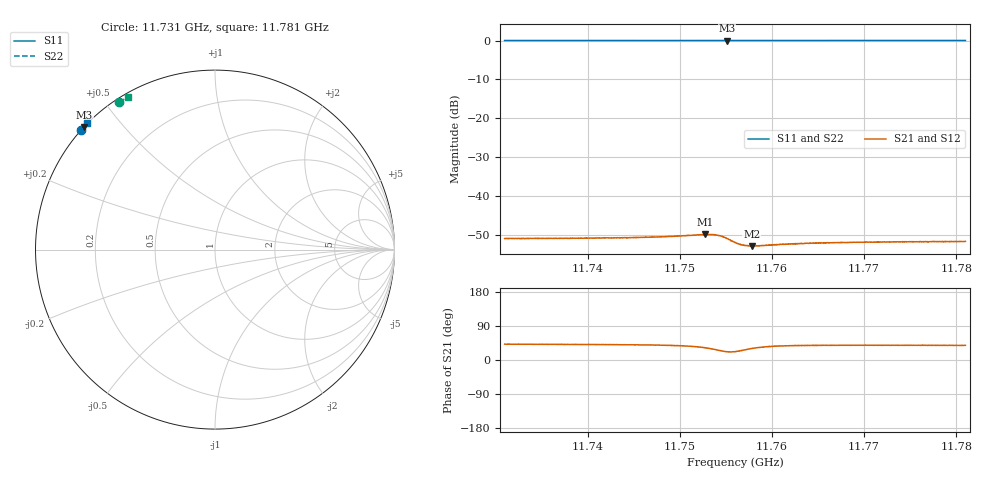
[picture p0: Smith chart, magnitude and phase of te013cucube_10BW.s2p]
!Keysight Technologies,N5245B,MY49151052,A.14.00.23
!Date: Friday, February 19, 2021 17:55:53
!Correction: S11(C* 2-Port  )
!S21(C* 2-Port  )
!S12(C* 2-Port  )
!S22(C* 2-Port  )
!S2P File: Measurement: :
# Hz S  dB  R 50
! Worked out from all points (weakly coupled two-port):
!   1601 points, 11.731 GHz to 11.781 GHz, reference 50 ohm
!   highest |S21| = -49.72 dB at 11.7528 GHz (marker M1); lowest = -52.8 dB at 11.7578 GHz (marker M2)
!   lowest |S11| = 0.0 dB at 11.7551 GHz (marker M3), VSWR 823.97, Z = 0.0701 + j19.7 ohm
!   |S11| at or under -10 dB: nowhere
!   |S22| runs from -0.2 to -0.2 dB; largest |S21 - S12| = 4.7e-05
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1.1731e10  0.01 138.4  -50.83 41.9  -50.82 41.7  -0.17 122.9
1.173934e10  0.01 137.9  -50.72 40.7  -50.71 40.9  -0.17 122.4
1.174519e10  0.00 137.5  -50.53 39.7  -50.54 39.6  -0.18 122.0
1.174769e10  0.00 137.3  -50.44 39.2  -50.37 38.9  -0.18 121.8
1.174916e10  0.00 137.2  -50.28 38.6  -50.29 38.1  -0.18 121.7
1.175275e10  -0.01 137.0  -49.72 32.5  -49.79 32.0  -0.18 121.5
1.175344e10  -0.01 136.9  -49.80 29.5  -49.82 29.2  -0.18 121.4
1.175409e10  -0.02 136.9  -49.97 26.3  -49.96 26.2  -0.18 121.4
1.175456e10  -0.02 136.9  -50.24 23.8  -50.26 23.4  -0.18 121.4
1.175512e10  -0.02 136.9  -50.79 21.7  -50.81 21.9  -0.18 121.3
1.1756e10  -0.02 137.0  -51.79 22.2  -51.79 21.7  -0.18 121.3
1.175634e10  -0.01 137.0  -52.17 23.2  -52.15 22.8  -0.18 121.3
1.175681e10  -0.01 136.9  -52.50 25.5  -52.53 25.4  -0.18 121.2
1.175738e10  -0.01 136.9  -52.61 28.5  -52.73 28.4  -0.18 121.2
1.175781e10  -0.00 136.9  -52.78 30.2  -52.72 29.8  -0.18 121.2
1.175881e10  0.00 136.8  -52.64 33.3  -52.71 33.7  -0.18 121.1
1.176112e10  0.01 136.7  -52.30 37.1  -52.33 36.7  -0.18 120.9
1.176253e10  0.01 136.6  -52.08 38.0  -52.14 37.8  -0.18 120.8
1.176434e10  0.01 136.4  -52.04 38.2  -52.03 38.3  -0.18 120.7
1.176828e10  0.01 136.2  -51.81 38.9  -51.85 38.9  -0.18 120.5
1.177269e10  0.01 135.9  -51.73 38.7  -51.68 38.6  -0.17 120.2
1.1781e10  0.01 135.5  -51.54 38.6  -51.60 38.3  -0.17 119.6
